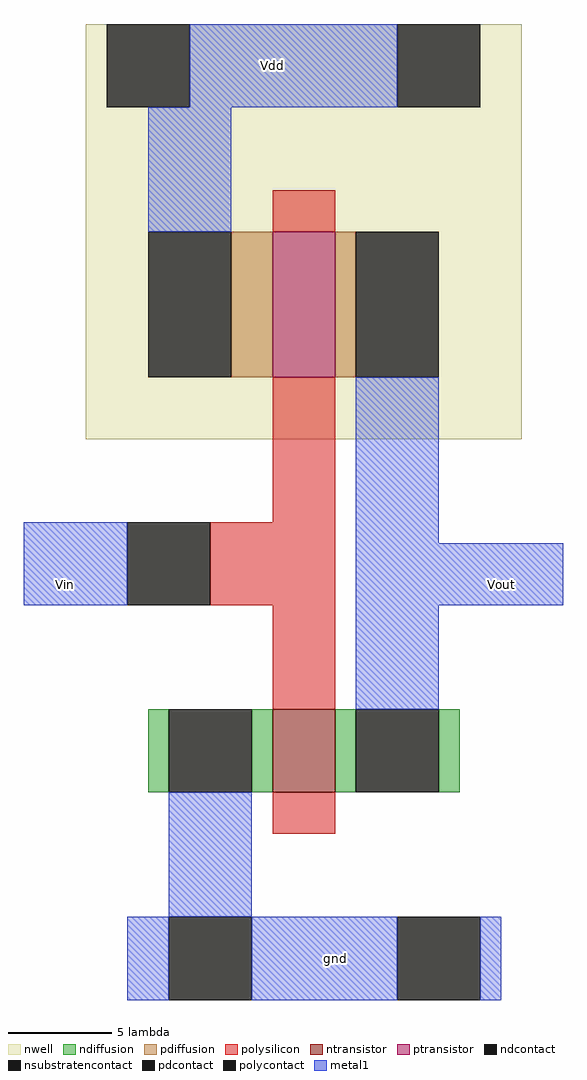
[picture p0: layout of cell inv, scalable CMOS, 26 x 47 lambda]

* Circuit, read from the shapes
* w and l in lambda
.subckt inv Vdd Vin Vout gnd
M1 Vout Vin gnd VSUBS nfet w=4 l=3
M2 Vout Vin Vdd Vdd pfet w=7 l=3
.ends

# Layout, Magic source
magic
tech scmos
<< nwell >>
rect -8 3 13 23
<< polysilicon >>
rect 1 13 4 15
rect 1 -1 4 6
rect -2 -5 4 -1
rect 1 -10 4 -5
rect 1 -16 4 -14
<< ndiffusion >>
rect -5 -14 -4 -10
rect 0 -14 1 -10
rect 4 -14 5 -10
rect 9 -14 10 -10
<< pdiffusion >>
rect -1 6 1 13
rect 4 6 5 13
<< metal1 >>
rect -3 19 7 23
rect -5 13 -1 19
rect -11 -5 -6 -1
rect 5 -2 9 6
rect 5 -5 15 -2
rect 5 -10 9 -5
rect -4 -20 0 -14
rect -6 -24 -4 -20
rect 0 -24 7 -20
rect 11 -24 12 -20
<< ntransistor >>
rect 1 -14 4 -10
<< ptransistor >>
rect 1 6 4 13
<< polycontact >>
rect -6 -5 -2 -1
<< ndcontact >>
rect -4 -14 0 -10
rect 5 -14 9 -10
rect -4 -24 0 -20
rect 7 -24 11 -20
<< pdcontact >>
rect -5 6 -1 13
rect 5 6 9 13
<< nsubstratencontact >>
rect -7 19 -3 23
rect 7 19 11 23
<< labels >>
rlabel metal1 1 21 1 21 5 Vdd
rlabel metal1 -9 -4 -9 -4 3 Vin
rlabel metal1 12 -4 12 -4 7 Vout
rlabel metal1 4 -22 4 -22 1 gnd
<< end >>
